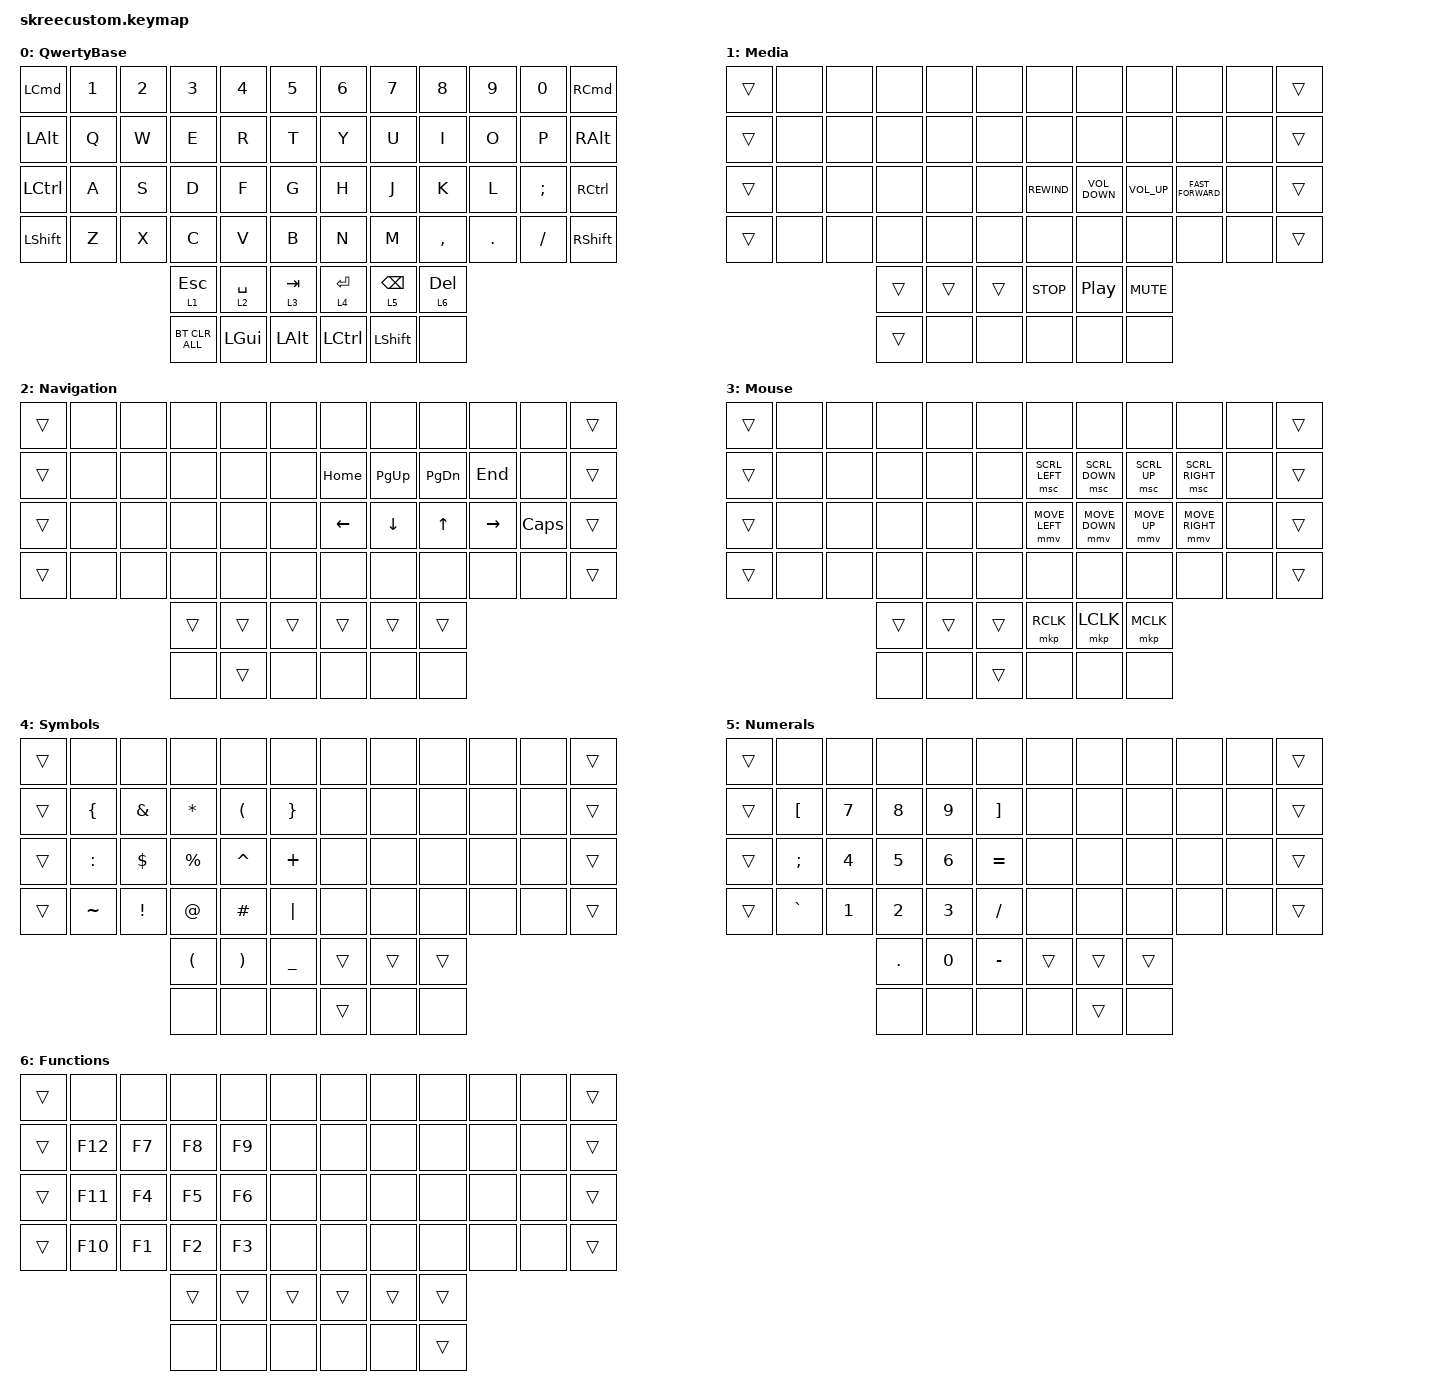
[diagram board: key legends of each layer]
/*
 * Copyright (c) 2020 The ZMK Contributors
 * 
 * SPDX-License-Identifier: MIT
 */

#include <input/processors.dtsi>
#include <dt-bindings/zmk/input_transform.h>
#include <behaviors.dtsi>
#include <dt-bindings/zmk/bt.h>
#include <dt-bindings/zmk/keys.h>
#include <dt-bindings/zmk/pointing.h>

/ {
    keymap {
        compatible = "zmk,keymap";

        QwertyBase {
            bindings = <
&kp LEFT_COMMAND  &kp N1  &kp N2  &kp N3          &kp N4        &kp N5          &kp N6       &kp N7           &kp N8        &kp N9   &kp N0    &kp RIGHT_COMMAND
&kp LEFT_ALT      &kp Q   &kp W   &kp E           &kp R         &kp T           &kp Y        &kp U            &kp I         &kp O    &kp P     &kp RIGHT_ALT
&kp LCTRL         &kp A   &kp S   &kp D           &kp F         &kp G           &kp H        &kp J            &kp K         &kp L    &kp SEMI  &kp RCTRL
&kp LEFT_SHIFT    &kp Z   &kp X   &kp C           &kp V         &kp B           &kp N        &kp M            &kp COMMA     &kp DOT  &kp FSLH  &kp RIGHT_SHIFT
                                  &lt 1 ESCAPE    &lt 2 SPACE   &lt 3 TAB       &lt 4 ENTER  &lt 5 BACKSPACE  &lt 6 DELETE
                                  &bt BT_CLR_ALL  &kp LEFT_GUI  &kp LEFT_ALT    &kp LCTRL    &kp LSHIFT       &none
            >;
        };

        Media {
            bindings = <
&trans  &none  &none  &none   &none   &none     &none         &none              &none            &none               &none  &trans
&trans  &none  &none  &none   &none   &none     &none         &none              &none            &none               &none  &trans
&trans  &none  &none  &none   &none   &none     &kp C_REWIND  &kp C_VOLUME_DOWN  &kp C_VOLUME_UP  &kp C_FAST_FORWARD  &none  &trans
&trans  &none  &none  &none   &none   &none     &none         &none              &none            &none               &none  &trans
                      &trans  &trans  &trans    &kp C_STOP    &kp C_PLAY_PAUSE   &kp C_MUTE
                      &trans  &none   &none     &none         &none              &none
            >;
        };

        Navigation {
            bindings = <
&trans  &none  &none  &none   &none   &none     &none     &none        &none          &none      &none     &trans
&trans  &none  &none  &none   &none   &none     &kp HOME  &kp PAGE_UP  &kp PAGE_DOWN  &kp END    &none     &trans
&trans  &none  &none  &none   &none   &none     &kp LEFT  &kp DOWN     &kp UP         &kp RIGHT  &kp CAPS  &trans
&trans  &none  &none  &none   &none   &none     &none     &none        &none          &none      &none     &trans
                      &trans  &trans  &trans    &trans    &trans       &trans
                      &none   &trans  &none     &none     &none        &none
            >;
        };

        Mouse {
            bindings = <
&trans  &none  &none  &none   &none   &none     &none           &none           &none         &none            &none  &trans
&trans  &none  &none  &none   &none   &none     &msc SCRL_LEFT  &msc SCRL_DOWN  &msc SCRL_UP  &msc SCRL_RIGHT  &none  &trans
&trans  &none  &none  &none   &none   &none     &mmv MOVE_LEFT  &mmv MOVE_DOWN  &mmv MOVE_UP  &mmv MOVE_RIGHT  &none  &trans
&trans  &none  &none  &none   &none   &none     &none           &none           &none         &none            &none  &trans
                      &trans  &trans  &trans    &mkp RCLK       &mkp LCLK       &mkp MCLK
                      &none   &none   &trans    &none           &none           &none
            >;
        };

        Symbols {
            bindings = <
&trans  &none           &none            &none                 &none                  &none              &none   &none   &none   &none  &none  &trans
&trans  &kp LEFT_BRACE  &kp AMPERSAND    &kp STAR              &kp LPAR               &kp RIGHT_BRACE    &none   &none   &none   &none  &none  &trans
&trans  &kp COLON       &kp DOLLAR       &kp PERCENT           &kp CARET              &kp PLUS           &none   &none   &none   &none  &none  &trans
&trans  &kp TILDE       &kp EXCLAMATION  &kp AT                &kp HASH               &kp PIPE           &none   &none   &none   &none  &none  &trans
                                         &kp LEFT_PARENTHESIS  &kp RIGHT_PARENTHESIS  &kp UNDERSCORE     &trans  &trans  &trans
                                         &none                 &none                  &none              &trans  &none   &none
            >;
        };

        Numerals {
            bindings = <
&trans  &none      &none   &none    &none   &none        &none   &none   &none   &none  &none  &trans
&trans  &kp LBKT   &kp N7  &kp N8   &kp N9  &kp RBKT     &none   &none   &none   &none  &none  &trans
&trans  &kp SEMI   &kp N4  &kp N5   &kp N6  &kp EQUAL    &none   &none   &none   &none  &none  &trans
&trans  &kp GRAVE  &kp N1  &kp N2   &kp N3  &kp FSLH     &none   &none   &none   &none  &none  &trans
                           &kp DOT  &kp N0  &kp MINUS    &trans  &trans  &trans
                           &none    &none   &none        &none   &trans  &none
            >;
        };

        Functions {
            bindings = <
&trans  &none    &none   &none   &none   &none     &none   &none   &none   &none  &none  &trans
&trans  &kp F12  &kp F7  &kp F8  &kp F9  &none     &none   &none   &none   &none  &none  &trans
&trans  &kp F11  &kp F4  &kp F5  &kp F6  &none     &none   &none   &none   &none  &none  &trans
&trans  &kp F10  &kp F1  &kp F2  &kp F3  &none     &none   &none   &none   &none  &none  &trans
                         &trans  &trans  &trans    &trans  &trans  &trans
                         &none   &none   &none     &none   &none   &trans
            >;
        };
    };
};

// //right hand trackball overrides
// &trackball_peripheral_listener {
//     input-processors =
//         <&zip_xy_transform INPUT_TRANSFORM_XY_SWAP>,//this gets it to the default installation orientation
//         <&zip_temp_layer 3 500>;//activate layer 3 within 500ms of the trackball moving
// };
// //left hand trackball overrides 
// &trackball_central_listener {
//     input-processors = 
//         <&zip_xy_transform INPUT_TRANSFORM_XY_SWAP>,//this gets it to the default installation orientation
//         <&zip_xy_scaler 1 3>,//multiply sensitivity by 1, divide by 3 (make it slower for scrolling)
//         <&zip_xy_to_scroll_mapper>,//make this trackball output scrolling events by default instead of cursor movement
//         <&zip_scroll_transform INPUT_TRANSFORM_Y_INVERT>;//invert vertical scrolling so that the view moves in the same direction as the top of the trackball.
// };
